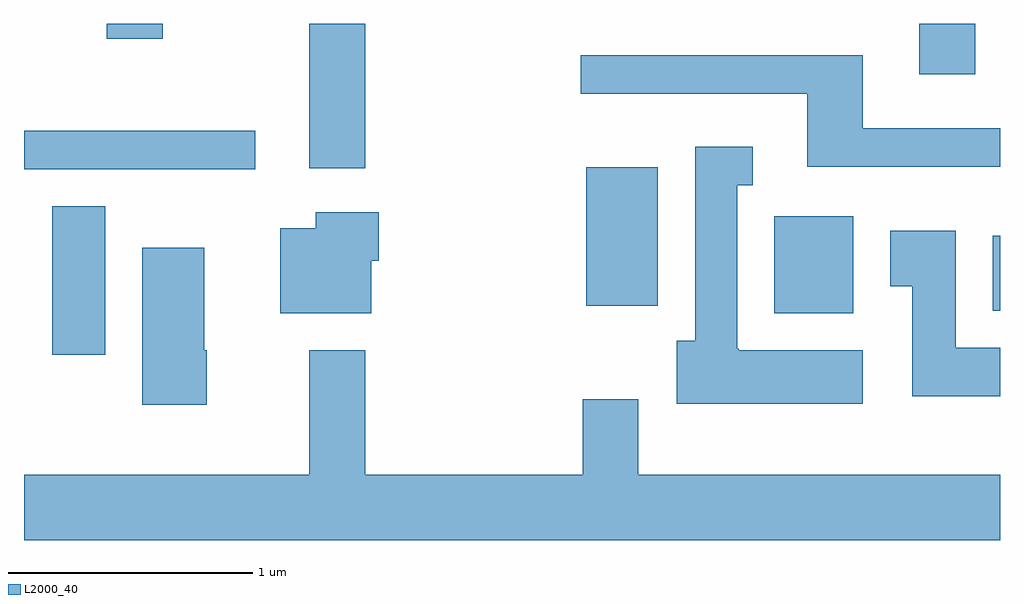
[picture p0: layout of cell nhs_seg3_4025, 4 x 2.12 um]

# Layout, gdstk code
import gdstk
lib = gdstk.Library(unit=1e-6, precision=1e-09)
def R(c, l, rs):  # rectangles x0, y0, x1, y1
    for r in rs: c.add(gdstk.rectangle(r[:2], r[2:], *l))
def P(c, l, *ps):  # polygons
    for p in ps: c.add(gdstk.Polygon(p, *l))
L2000_40 = (2000, 40)

nhs_seg3_4025 = lib.new_cell('nhs_seg3_4025')
R(nhs_seg3_4025, L2000_40, [(303.726,1144.536,303.944,1145.144), (306.686,1144.706,307.009,1145.104), (307.581,1144.716,307.611,1145.024), (305.916,1144.736,306.209,1145.304), (303.611,1145.296,304.558,1145.454), (304.781,1145.301,305.009,1145.892), (307.281,1145.686,307.509,1145.892), (303.951,1145.831,304.179,1145.892)])
P(nhs_seg3_4025, L2000_40, [(307.611,1145.464),(307.049,1145.464),(307.049,1145.764),(305.893,1145.764),(305.893,1145.606),(306.821,1145.606),(306.821,1145.306),(307.611,1145.306)],
  [(307.049,1144.554),(306.54,1144.554),(306.54,1144.56),(306.534,1144.56),(306.534,1145.231),(306.598,1145.231),(306.598,1145.389),(306.361,1145.389),(306.361,1144.594),(306.286,1144.594),(306.286,1144.336),(307.049,1144.336)],
  [(305.034,1144.921),(305.064,1144.921),(305.064,1145.119),(304.806,1145.119),(304.806,1145.054),(304.661,1145.054),(304.661,1144.706),(305.034,1144.706)],
  [(307.611,1144.564),(307.429,1144.564),(307.429,1145.044),(307.161,1145.044),(307.161,1144.816),(307.251,1144.816),(307.251,1144.366),(307.611,1144.366)],
  [(304.359,1144.555),(304.349,1144.555),(304.349,1144.974),(304.096,1144.974),(304.096,1144.331),(304.359,1144.331)],
  [(307.611,1144.044),(306.129,1144.044),(306.129,1144.354),(305.901,1144.354),(305.901,1144.044),(305.009,1144.044),(305.009,1144.554),(304.781,1144.554),(304.781,1144.044),(303.611,1144.044),(303.611,1143.776),(307.611,1143.776)])

lib.write_gds('nhs_seg3_4025.gds')
